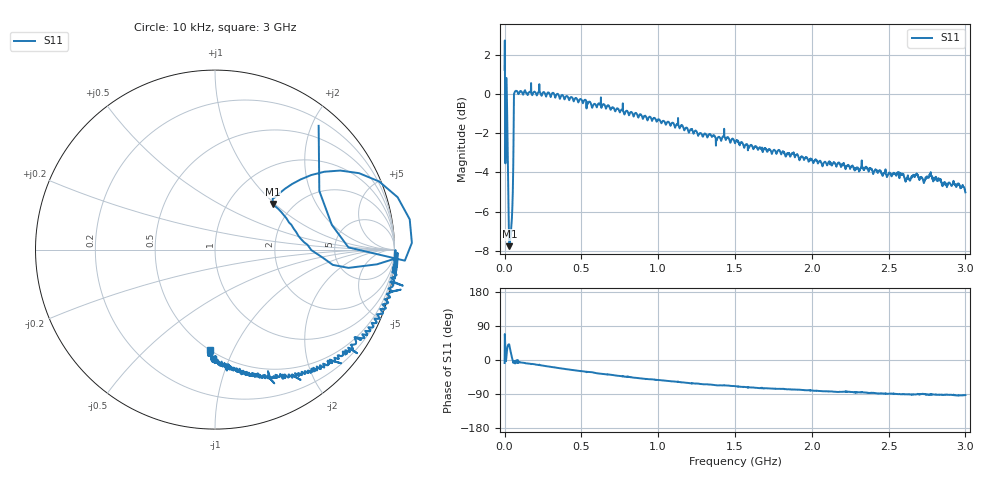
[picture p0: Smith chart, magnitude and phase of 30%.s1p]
# HZ S RI R 50
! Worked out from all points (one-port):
!   2020 points, 10 kHz to 3 GHz, reference 50 ohm
!   lowest |S11| = -7.8 dB at 31.21 MHz (marker M1), VSWR 2.39, Z = 79.3 + j48.4 ohm
!   |S11| at or under -10 dB: nowhere
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10000  1.14 -0.1599
5953516  0.651 0.1376
1.635467e7  0.8026 0.4258
1.932643e7  0.609 0.4338
2.378406e7  0.4294 0.3654
2.675582e7  0.3592 0.3141
3.121346e7  0.3217 0.2537
3.715698e7  0.384 0.1909
4.310049e7  0.4383 0.1171
5.350164e7  0.5651 -0.0214
6.39028e7  1.004 -0.0714
7.133219e7  1.015 -0.0496
7.578983e7  1.017 -0.0184
2.407224e8  0.9573 -0.2487
3.759374e8  0.9163 -0.3848
6.121921e8  0.767 -0.5519
7.503789e8  0.6648 -0.6027
9.049103e8  0.5691 -0.6603
1.126306e9  0.4477 -0.7087
1.381877e9  0.2995 -0.7034
1.500748e9  0.2689 -0.6988
1.653793e9  0.1971 -0.697
1.875189e9  0.1486 -0.6907
2.161964e9  0.0645 -0.6544
2.251117e9  0.0667 -0.6455
2.625558e9  -0.00794 -0.6204
2.768203e9  -0.0151 -0.6198
3e9  -0.026 -0.561
